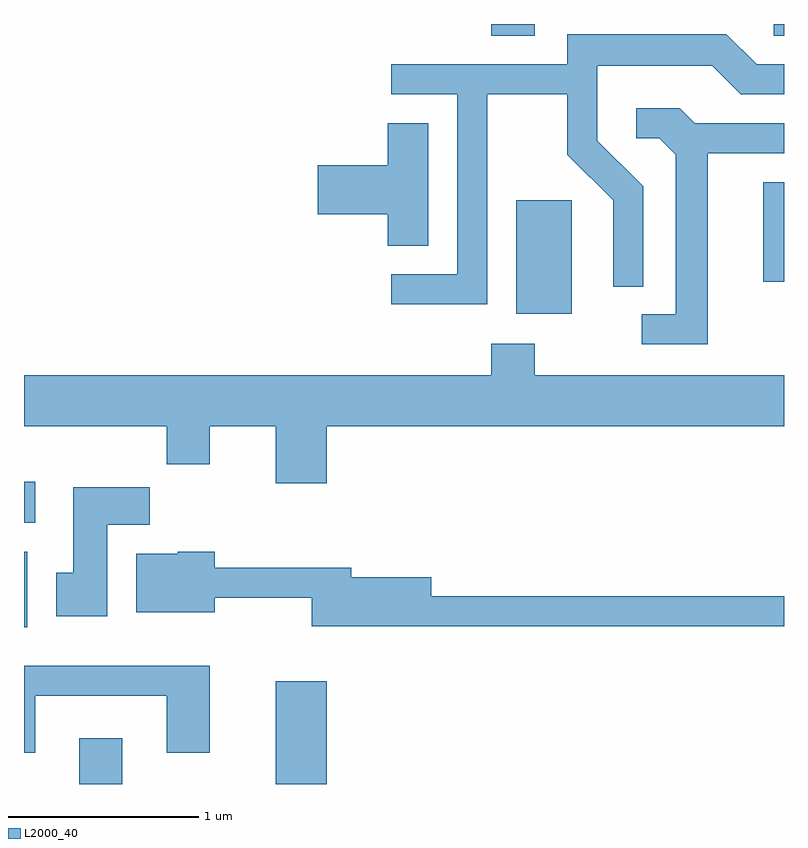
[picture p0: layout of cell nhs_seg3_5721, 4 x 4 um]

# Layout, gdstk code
import gdstk
lib = gdstk.Library(unit=1e-6, precision=1e-09)
def R(c, l, rs):  # rectangles x0, y0, x1, y1
    for r in rs: c.add(gdstk.rectangle(r[:2], r[2:], *l))
def P(c, l, *ps):  # polygons
    for p in ps: c.add(gdstk.Polygon(p, *l))
L2000_40 = (2000, 40)

nhs_seg3_5721 = lib.new_cell('nhs_seg3_5721')
R(nhs_seg3_5721, L2000_40, [(353.901,1141.892,354.129,1142.134), (354.936,1141.892,355.204,1142.434), (353.611,1142.716,353.629,1143.114), (353.611,1143.266,353.669,1143.484), (356.201,1144.366,356.494,1144.964), (357.501,1144.536,357.611,1145.059), (356.071,1145.831,356.299,1145.892), (357.556,1145.831,357.611,1145.892)])
P(nhs_seg3_5721, L2000_40, [(356.049,1145.521),(356.471,1145.521),(356.471,1145.204),(356.711,1144.964),(356.711,1144.508),(356.869,1144.508),(356.869,1145.037),(356.629,1145.277),(356.629,1145.671),(357.234,1145.671),(357.384,1145.521),(357.611,1145.521),(357.611,1145.679),(357.467,1145.679),(357.307,1145.839),(356.471,1145.839),(356.471,1145.679),(355.543,1145.679),(355.543,1145.521),(355.891,1145.521),(355.891,1144.574),(355.543,1144.574),(355.543,1144.416),(356.049,1144.416)],
  [(357.209,1145.211),(357.611,1145.211),(357.611,1145.369),(357.142,1145.369),(357.062,1145.449),(356.833,1145.449),(356.833,1145.291),(356.954,1145.291),(357.041,1145.204),(357.041,1144.364),(356.863,1144.364),(356.863,1144.206),(357.209,1144.206)],
  [(355.739,1145.369),(355.526,1145.369),(355.526,1145.149),(355.156,1145.149),(355.156,1144.891),(355.526,1144.891),(355.526,1144.726),(355.739,1144.726)],
  [(355.204,1143.776),(357.611,1143.776),(357.611,1144.044),(356.299,1144.044),(356.299,1144.209),(356.071,1144.209),(356.071,1144.044),(353.611,1144.044),(353.611,1143.776),(354.361,1143.776),(354.361,1143.576),(354.589,1143.576),(354.589,1143.776),(354.936,1143.776),(354.936,1143.476),(355.204,1143.476)],
  [(354.049,1143.256),(354.274,1143.256),(354.274,1143.454),(353.871,1143.454),(353.871,1143.004),(353.781,1143.004),(353.781,1142.776),(354.049,1142.776)],
  [(357.611,1142.879),(355.754,1142.879),(355.754,1142.979),(355.334,1142.979),(355.334,1143.029),(354.614,1143.029),(354.614,1143.114),(354.42,1143.114),(354.42,1143.104),(354.201,1143.104),(354.201,1142.796),(354.614,1142.796),(354.614,1142.871),(355.126,1142.871),(355.126,1142.721),(357.611,1142.721)],
  [(353.669,1142.356),(354.361,1142.356),(354.361,1142.056),(354.589,1142.056),(354.589,1142.514),(353.611,1142.514),(353.611,1142.056),(353.669,1142.056)])

lib.write_gds('nhs_seg3_5721.gds')
